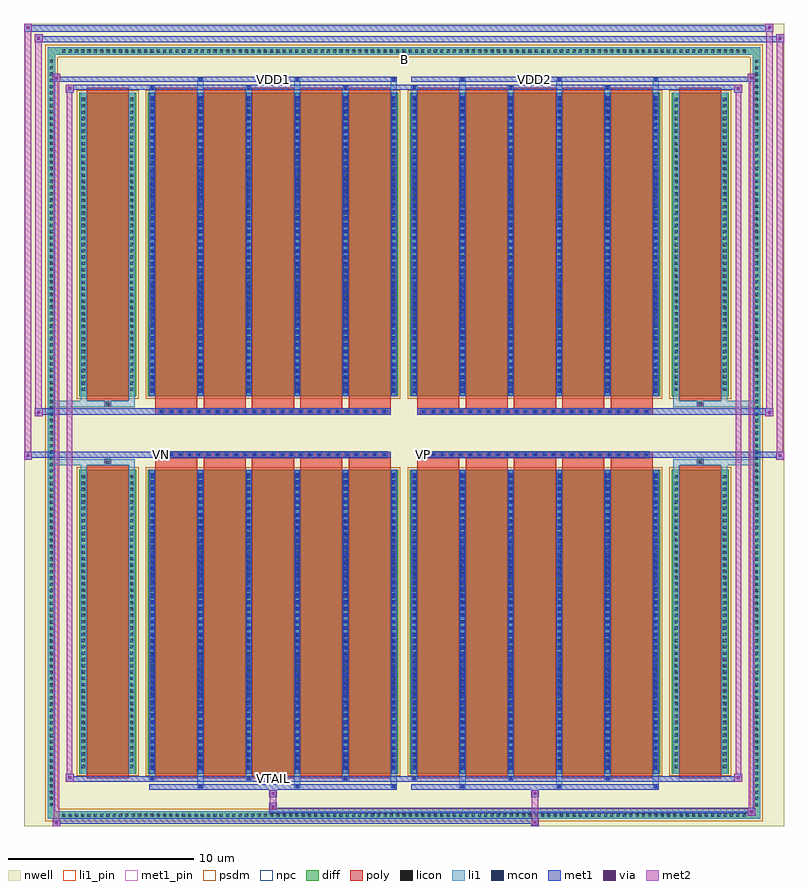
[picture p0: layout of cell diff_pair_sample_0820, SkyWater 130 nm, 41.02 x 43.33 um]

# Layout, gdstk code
import gdstk
lib = gdstk.Library(unit=1e-6, precision=5e-09)
def R(c, l, rs):  # rectangles x0, y0, x1, y1
    for r in rs: c.add(gdstk.rectangle(r[:2], r[2:], *l))
def A(c, l, x, y, w, h, nx, ny, dx, dy):  # array of equal rectangles
    R(c, l, [(x+i*dx, y+j*dy, x+i*dx+w, y+j*dy+h) for i in range(nx) for j in range(ny)])
def P(c, l, *ps):  # polygons
    for p in ps: c.add(gdstk.Polygon(p, *l))
nwell = (64, 20)
diff = (65, 20)
poly = (66, 20)
licon = (66, 44)
li1_pin = (67, 16)
li1 = (67, 20)
mcon = (67, 44)
met1_pin = (68, 16)
met1 = (68, 20)
via = (68, 44)
met2 = (69, 20)
psdm = (94, 20)
npc = (95, 20)

diff_pair_sample_0820 = lib.new_cell('diff_pair_sample_0820')
R(diff_pair_sample_0820, nwell, [(-20.51,-21.23,20.51,22.1), (-17.83,-19.42,-0.01,-0.8), (0.01,-19.42,17.83,-0.8), (-17.83,0.8,-0.01,19.42), (0.01,0.8,17.83,19.42)])
A(diff_pair_sample_0820, diff, -18.565, -20.83, 0.41, 0.41, 109, 2, 0.34, 41.25)
A(diff_pair_sample_0820, diff, -19.24, -20.265, 0.41, 0.41, 1, 119, 0, 0.34)
A(diff_pair_sample_0820, diff, 18.83, -20.265, 0.41, 0.41, 1, 119, 0, 0.34)
R(diff_pair_sample_0820, diff, [(-18.565,-20.83,18.565,-20.42), (-19.24,-20.265,-18.83,20.265), (18.83,-20.265,19.24,20.265), (-17.52,-18.375,-14.46,-1.985), (-13.82,-18.375,-0.32,-1.985), (0.32,-18.375,13.82,-1.985), (14.46,-18.375,17.52,-1.985), (-17.52,1.985,-14.46,18.375), (-13.82,1.985,-0.32,18.375), (0.32,1.985,13.82,18.375), (14.46,1.985,17.52,18.375), (-18.565,20.42,18.565,20.83)])
P(diff_pair_sample_0820, diff, [(19.24,20.83),(-19.24,20.83),(-19.24,-20.42),(-18.83,-20.42),(-18.83,20.42),(18.83,20.42),(18.83,-20.42),(-18.83,-20.42),(-19.24,-20.42),(-19.24,-20.83),(19.24,-20.83)])
A(diff_pair_sample_0820, poly, -13.43, -18.625, 2.28, 16.89, 5, 2, 2.61, 20.36)
A(diff_pair_sample_0820, poly, 0.71, -18.625, 2.28, 16.89, 5, 2, 2.61, 20.36)
A(diff_pair_sample_0820, poly, -13.43, -1.735, 2.28, 0.405, 5, 2, 2.61, 3.065)
A(diff_pair_sample_0820, poly, 0.71, -1.735, 2.28, 0.405, 5, 2, 2.61, 3.065)
A(diff_pair_sample_0820, poly, -13.235, -1.33, 0.33, 0.33, 25, 2, 0.5, 2.33)
A(diff_pair_sample_0820, poly, 0.905, -1.33, 0.33, 0.33, 25, 2, 0.5, 2.33)
R(diff_pair_sample_0820, poly, [(-17.13,-18.625,-14.85,-1.735), (14.85,-18.625,17.13,-1.735), (-16.155,-1.735,-15.825,-1.405), (-16.155,-1.735,-15.825,-1.405), (15.825,-1.735,16.155,-1.405), (15.825,-1.735,16.155,-1.405), (-13.43,-1.33,-0.71,-1), (0.71,-1.33,13.43,-1), (-13.43,1,-0.71,1.33), (0.71,1,13.43,1.33), (-16.155,1.405,-15.825,1.735), (-16.155,1.405,-15.825,1.735), (15.825,1.405,16.155,1.735), (15.825,1.405,16.155,1.735), (-17.13,1.735,-14.85,18.625), (14.85,1.735,17.13,18.625)])
A(diff_pair_sample_0820, licon, -18.445, -20.71, 0.17, 0.17, 109, 2, 0.34, 41.25)
A(diff_pair_sample_0820, licon, -19.12, -20.145, 0.17, 0.17, 1, 119, 0, 0.34)
A(diff_pair_sample_0820, licon, 18.95, -20.145, 0.17, 0.17, 1, 119, 0, 0.34)
A(diff_pair_sample_0820, licon, -17.38, -18.085, 0.17, 0.17, 1, 47, 0, 0.34)
A(diff_pair_sample_0820, licon, -14.77, -18.085, 0.17, 0.17, 1, 47, 0, 0.34)
A(diff_pair_sample_0820, licon, -13.68, -18.085, 0.17, 0.17, 6, 47, 2.61, 0.34)
A(diff_pair_sample_0820, licon, 0.46, -18.085, 0.17, 0.17, 6, 47, 2.61, 0.34)
A(diff_pair_sample_0820, licon, 14.6, -18.085, 0.17, 0.17, 1, 47, 0, 0.34)
A(diff_pair_sample_0820, licon, 17.21, -18.085, 0.17, 0.17, 1, 47, 0, 0.34)
A(diff_pair_sample_0820, licon, -13.155, -1.25, 0.17, 0.17, 25, 2, 0.5, 2.33)
A(diff_pair_sample_0820, licon, 0.985, -1.25, 0.17, 0.17, 25, 2, 0.5, 2.33)
A(diff_pair_sample_0820, licon, -17.38, 2.275, 0.17, 0.17, 1, 47, 0, 0.34)
A(diff_pair_sample_0820, licon, -14.77, 2.275, 0.17, 0.17, 1, 47, 0, 0.34)
A(diff_pair_sample_0820, licon, -13.68, 2.275, 0.17, 0.17, 6, 47, 2.61, 0.34)
A(diff_pair_sample_0820, licon, 0.46, 2.275, 0.17, 0.17, 6, 47, 2.61, 0.34)
A(diff_pair_sample_0820, licon, 14.6, 2.275, 0.17, 0.17, 1, 47, 0, 0.34)
A(diff_pair_sample_0820, licon, 17.21, 2.275, 0.17, 0.17, 1, 47, 0, 0.34)
R(diff_pair_sample_0820, licon, [(-16.075,-1.655,-15.905,-1.485), (15.905,-1.655,16.075,-1.485), (-16.075,1.485,-15.905,1.655), (15.905,1.485,16.075,1.655)])
R(diff_pair_sample_0820, li1_pin, [(-0.25,19.92,0.25,20.42)])
A(diff_pair_sample_0820, li1, -18.525, -20.79, 0.33, 0.33, 109, 2, 0.34, 41.25)
A(diff_pair_sample_0820, li1, -19.2, -20.225, 0.33, 0.33, 1, 119, 0, 0.34)
A(diff_pair_sample_0820, li1, 18.87, -20.225, 0.33, 0.33, 1, 119, 0, 0.34)
A(diff_pair_sample_0820, li1, -11.15, -19.18, 0.33, 0.805, 3, 2, 5.22, 37.555)
A(diff_pair_sample_0820, li1, -11.07, -19.18, 0.17, 0.17, 3, 2, 5.22, 38.19)
A(diff_pair_sample_0820, li1, 2.99, -19.18, 0.33, 0.805, 3, 2, 5.22, 37.555)
A(diff_pair_sample_0820, li1, 3.07, -19.18, 0.17, 0.17, 3, 2, 5.22, 38.19)
A(diff_pair_sample_0820, li1, -13.76, -18.75, 0.33, 0.375, 3, 2, 5.22, 37.125)
A(diff_pair_sample_0820, li1, -13.68, -18.75, 0.17, 0.17, 3, 2, 5.22, 37.33)
A(diff_pair_sample_0820, li1, 0.38, -18.75, 0.33, 0.375, 3, 2, 5.22, 37.125)
A(diff_pair_sample_0820, li1, 0.46, -18.75, 0.17, 0.17, 3, 2, 5.22, 37.33)
A(diff_pair_sample_0820, li1, -13.76, -18.375, 0.33, 16.39, 6, 2, 2.61, 20.36)
A(diff_pair_sample_0820, li1, 0.38, -18.375, 0.33, 16.39, 6, 2, 2.61, 20.36)
A(diff_pair_sample_0820, li1, -13.68, -18.185, 0.17, 0.17, 6, 45, 2.61, 0.36)
A(diff_pair_sample_0820, li1, -13.68, -18.185, 0.17, 16.01, 6, 2, 2.61, 20.36)
A(diff_pair_sample_0820, li1, 0.46, -18.185, 0.17, 0.17, 6, 45, 2.61, 0.36)
A(diff_pair_sample_0820, li1, 0.46, -18.185, 0.17, 16.01, 6, 2, 2.61, 20.36)
A(diff_pair_sample_0820, li1, -17.46, -18.165, 0.33, 0.33, 1, 47, 0, 0.34)
A(diff_pair_sample_0820, li1, -14.85, -18.165, 0.33, 0.33, 1, 47, 0, 0.34)
A(diff_pair_sample_0820, li1, -13.76, -18.165, 0.33, 0.33, 6, 47, 2.61, 0.34)
A(diff_pair_sample_0820, li1, 0.38, -18.165, 0.33, 0.33, 6, 47, 2.61, 0.34)
A(diff_pair_sample_0820, li1, 14.52, -18.165, 0.33, 0.33, 1, 47, 0, 0.34)
A(diff_pair_sample_0820, li1, 17.13, -18.165, 0.33, 0.33, 1, 47, 0, 0.34)
A(diff_pair_sample_0820, li1, -13.235, -1.33, 0.33, 0.33, 25, 2, 0.5, 2.33)
A(diff_pair_sample_0820, li1, 0.905, -1.33, 0.33, 0.33, 25, 2, 0.5, 2.33)
A(diff_pair_sample_0820, li1, -13.68, 2.175, 0.17, 0.17, 6, 45, 2.61, 0.36)
A(diff_pair_sample_0820, li1, 0.46, 2.175, 0.17, 0.17, 6, 45, 2.61, 0.36)
A(diff_pair_sample_0820, li1, -17.46, 2.195, 0.33, 0.33, 1, 47, 0, 0.34)
A(diff_pair_sample_0820, li1, -14.85, 2.195, 0.33, 0.33, 1, 47, 0, 0.34)
A(diff_pair_sample_0820, li1, -13.76, 2.195, 0.33, 0.33, 6, 47, 2.61, 0.34)
A(diff_pair_sample_0820, li1, 0.38, 2.195, 0.33, 0.33, 6, 47, 2.61, 0.34)
A(diff_pair_sample_0820, li1, 14.52, 2.195, 0.33, 0.33, 1, 47, 0, 0.34)
A(diff_pair_sample_0820, li1, 17.13, 2.195, 0.33, 0.33, 1, 47, 0, 0.34)
R(diff_pair_sample_0820, li1, [(-19.24,-20.83,-18.83,-20.42), (-19.24,-20.83,-18.83,-20.42), (-18.83,-20.83,18.83,-20.42), (18.83,-20.83,19.24,-20.42), (18.83,-20.83,19.24,-20.42), (-19.24,-20.42,-18.83,20.42), (18.83,-20.42,19.24,20.42), (-17.46,-18.375,-17.13,-1.985), (-14.85,-18.375,-14.52,-1.985), (14.52,-18.375,14.85,-1.985), (17.13,-18.375,17.46,-1.985), (-17.46,-1.985,-17.13,-1.405), (-14.85,-1.985,-14.52,-1.405), (14.52,-1.985,14.85,-1.405), (17.13,-1.985,17.46,-1.405), (-19.24,-1.735,-16.155,-1.405), (-17.46,-1.735,-16.155,-1.405), (-16.155,-1.735,-15.825,-1.405), (-15.825,-1.735,-14.52,-1.405), (14.52,-1.735,15.825,-1.405), (15.825,-1.735,16.155,-1.405), (15.825,-1.735,19.24,-1.405), (16.155,-1.735,17.46,-1.405), (-19.24,1.405,-16.155,1.735), (-17.46,1.405,-16.155,1.735), (-17.46,1.405,-17.13,1.985), (-16.155,1.405,-15.825,1.735), (-15.825,1.405,-14.52,1.735), (-14.85,1.405,-14.52,1.985), (14.52,1.405,15.825,1.735), (14.52,1.405,14.85,1.985), (15.825,1.405,16.155,1.735), (15.825,1.405,19.24,1.735), (16.155,1.405,17.46,1.735), (17.13,1.405,17.46,1.985), (-17.46,1.985,-17.13,18.375), (-14.85,1.985,-14.52,18.375), (14.52,1.985,14.85,18.375), (17.13,1.985,17.46,18.375), (-19.24,20.42,-18.83,20.83), (-19.24,20.42,-18.83,20.83), (-18.83,20.42,18.83,20.83), (18.83,20.42,19.24,20.83), (18.83,20.42,19.24,20.83)])
A(diff_pair_sample_0820, mcon, -11.07, -19.18, 0.17, 0.17, 3, 2, 5.22, 38.19)
A(diff_pair_sample_0820, mcon, 3.07, -19.18, 0.17, 0.17, 3, 2, 5.22, 38.19)
A(diff_pair_sample_0820, mcon, -13.68, -18.75, 0.17, 0.17, 3, 2, 5.22, 37.33)
A(diff_pair_sample_0820, mcon, 0.46, -18.75, 0.17, 0.17, 3, 2, 5.22, 37.33)
A(diff_pair_sample_0820, mcon, -13.68, -18.185, 0.17, 0.17, 6, 45, 2.61, 0.36)
A(diff_pair_sample_0820, mcon, 0.46, -18.185, 0.17, 0.17, 6, 45, 2.61, 0.36)
A(diff_pair_sample_0820, mcon, -13.155, -1.25, 0.17, 0.17, 25, 2, 0.5, 2.33)
A(diff_pair_sample_0820, mcon, 0.985, -1.25, 0.17, 0.17, 25, 2, 0.5, 2.33)
A(diff_pair_sample_0820, mcon, -13.68, 2.175, 0.17, 0.17, 6, 45, 2.61, 0.36)
A(diff_pair_sample_0820, mcon, 0.46, 2.175, 0.17, 0.17, 6, 45, 2.61, 0.36)
R(diff_pair_sample_0820, met1_pin, [(-7.205,-18.79,-6.935,-18.52), (-13.205,-1.29,-12.935,-1.02), (0.935,-1.29,1.205,-1.02), (-7.205,18.97,-6.935,19.24), (6.935,18.97,7.205,19.24)])
A(diff_pair_sample_0820, met1, -11.13, -19.24, 0.29, 0.29, 3, 2, 5.22, 38.19)
A(diff_pair_sample_0820, met1, 3.01, -19.24, 0.29, 0.29, 3, 2, 5.22, 38.19)
A(diff_pair_sample_0820, met1, -13.74, -18.81, 0.29, 0.29, 3, 2, 5.22, 37.33)
A(diff_pair_sample_0820, met1, 0.4, -18.81, 0.29, 0.29, 3, 2, 5.22, 37.33)
A(diff_pair_sample_0820, met1, -13.74, -18.375, 0.29, 16.39, 6, 2, 2.61, 20.36)
A(diff_pair_sample_0820, met1, 0.4, -18.375, 0.29, 16.39, 6, 2, 2.61, 20.36)
A(diff_pair_sample_0820, met1, -13.74, -18.245, 0.29, 0.29, 6, 45, 2.61, 0.36)
A(diff_pair_sample_0820, met1, 0.4, -18.245, 0.29, 0.29, 6, 45, 2.61, 0.36)
A(diff_pair_sample_0820, met1, -13.215, -1.31, 0.29, 0.29, 25, 2, 0.5, 2.33)
A(diff_pair_sample_0820, met1, 0.925, -1.31, 0.29, 0.29, 25, 2, 0.5, 2.33)
A(diff_pair_sample_0820, met1, -13.74, 2.115, 0.29, 0.29, 6, 45, 2.61, 0.36)
A(diff_pair_sample_0820, met1, 0.4, 2.115, 0.29, 0.29, 6, 45, 2.61, 0.36)
R(diff_pair_sample_0820, met1, [(-18.97,-21.23,-18.54,-20.8), (6.855,-21.23,7.285,-20.8), (-18.97,-21.09,7.285,-20.8), (18.54,-20.66,18.97,-20.23), (-7.285,-20.52,18.97,-20.23), (-7.285,-20.38,-6.855,-19.95), (-7.285,-19.67,-6.855,-19.24), (6.855,-19.67,7.285,-19.24), (-13.74,-19.24,-0.4,-18.95), (0.4,-19.24,13.74,-18.95), (-18.26,-18.81,-17.83,-18.38), (-18.26,-18.81,-13.74,-18.52), (-13.74,-18.81,-0.4,-18.52), (-0.4,-18.81,0.4,-18.52), (0.4,-18.81,13.74,-18.52), (13.74,-18.81,18.26,-18.52), (17.83,-18.81,18.26,-18.38), (-20.51,-1.43,-20.08,-1), (20.08,-1.43,20.51,-1), (-20.51,-1.33,-0.71,-1), (-13.43,-1.33,-0.71,-1), (0.71,-1.33,13.43,-1), (0.71,-1.33,20.51,-1), (-19.94,0.9,-19.51,1.33), (19.51,0.9,19.94,1.33), (-19.94,1,-13.43,1.33), (-13.43,1,-0.71,1.33), (0.71,1,13.43,1.33), (13.43,1,19.94,1.33), (-18.26,18.38,-17.83,18.81), (17.83,18.38,18.26,18.81), (-18.26,18.52,-13.74,18.81), (-13.74,18.52,-0.4,18.81), (-0.4,18.52,0.4,18.81), (0.4,18.52,13.74,18.81), (13.74,18.52,18.26,18.81), (-18.97,18.95,-18.54,19.38), (-18.97,18.95,-13.74,19.24), (-13.74,18.95,-0.4,19.24), (0.4,18.95,13.74,19.24), (13.74,18.95,18.97,19.24), (18.54,18.95,18.97,19.38), (-19.94,21.1,-19.51,21.53), (-19.94,21.1,-17.83,21.43), (-17.83,21.1,17.83,21.43), (17.83,21.1,20.51,21.43), (20.08,21.1,20.51,21.53), (-20.51,21.67,-20.08,22.1), (-20.51,21.67,-17.83,22), (-17.83,21.67,17.83,22), (17.83,21.67,19.94,22), (19.51,21.67,19.94,22.1)])
R(diff_pair_sample_0820, via, [(-18.83,-21.09,-18.68,-20.94), (6.995,-21.09,7.145,-20.94), (18.68,-20.52,18.83,-20.37), (-7.145,-20.24,-6.995,-20.09), (-7.145,-19.53,-6.995,-19.38), (6.995,-19.53,7.145,-19.38), (-18.12,-18.67,-17.97,-18.52), (17.97,-18.67,18.12,-18.52), (-20.37,-1.29,-20.22,-1.14), (20.22,-1.29,20.37,-1.14), (-19.8,1.04,-19.65,1.19), (19.65,1.04,19.8,1.19), (-18.12,18.52,-17.97,18.67), (17.97,18.52,18.12,18.67), (-18.83,19.09,-18.68,19.24), (18.68,19.09,18.83,19.24), (-19.8,21.24,-19.65,21.39), (20.22,21.24,20.37,21.39), (-20.37,21.81,-20.22,21.96), (19.65,21.81,19.8,21.96)])
R(diff_pair_sample_0820, met2, [(-18.97,-21.23,-18.54,-20.8), (-18.9,-21.23,-18.61,19.38), (-18.61,-21.23,-18.54,-20.8), (-18.92,-21.18,-18.59,-20.85), (6.905,-21.18,7.235,-20.85), (6.905,-20.85,7.235,-19.62), (18.54,-20.66,18.97,-20.23), (18.61,-20.66,18.9,19.38), (18.9,-20.66,18.97,-20.23), (18.59,-20.61,18.92,-20.28), (-7.235,-20.33,-6.905,-20), (-7.235,-20,-6.905,-19.62), (-7.235,-19.62,-6.905,-19.29), (6.905,-19.62,7.235,-19.29), (-18.26,-18.81,-17.83,-18.38), (-18.19,-18.81,-17.9,18.81), (-17.9,-18.81,-17.83,-18.38), (17.83,-18.81,18.26,-18.38), (17.9,-18.81,18.19,18.81), (18.19,-18.81,18.26,-18.38), (-18.21,-18.76,-17.88,-18.43), (17.88,-18.76,18.21,-18.43), (-20.51,-1.43,-20.08,-1), (-20.46,-1.43,-20.13,22.1), (-20.13,-1.43,-20.08,-1), (20.08,-1.43,20.51,-1), (20.13,-1.43,20.46,21.53), (20.46,-1.43,20.51,-1), (-20.46,-1.38,-20.13,-1.05), (20.13,-1.38,20.46,-1.05), (-19.94,0.9,-19.51,1.33), (-19.89,0.9,-19.56,21.53), (-19.56,0.9,-19.51,1.33), (19.51,0.9,19.94,1.33), (19.56,0.9,19.89,22.1), (19.89,0.9,19.94,1.33), (-19.89,0.95,-19.56,1.28), (19.56,0.95,19.89,1.28), (-18.26,18.38,-17.83,18.81), (-17.9,18.38,-17.83,18.81), (17.83,18.38,18.26,18.81), (18.19,18.38,18.26,18.81), (-18.21,18.43,-17.88,18.76), (17.88,18.43,18.21,18.76), (-18.97,18.95,-18.54,19.38), (-18.61,18.95,-18.54,19.38), (18.54,18.95,18.97,19.38), (18.9,18.95,18.97,19.38), (-18.92,19,-18.59,19.33), (18.59,19,18.92,19.33), (-19.94,21.1,-19.51,21.53), (-19.56,21.1,-19.51,21.53), (20.08,21.1,20.51,21.53), (20.46,21.1,20.51,21.53), (-19.89,21.15,-19.56,21.48), (20.13,21.15,20.46,21.48), (-20.51,21.67,-20.08,22.1), (-20.13,21.67,-20.08,22.1), (19.51,21.67,19.94,22.1), (19.89,21.67,19.94,22.1), (-20.46,21.72,-20.13,22.05), (19.56,21.72,19.89,22.05)])
R(diff_pair_sample_0820, psdm, [(-17.65,-18.505,-14.33,-1.855), (-13.95,-18.505,-0.19,-1.855), (0.19,-18.505,13.95,-1.855), (14.33,-18.505,17.65,-1.855), (-17.65,1.855,-14.33,18.505), (-13.95,1.855,-0.19,18.505), (0.19,1.855,13.95,18.505), (14.33,1.855,17.65,18.505)])
P(diff_pair_sample_0820, psdm, [(19.37,20.96),(-19.37,20.96),(-19.37,-20.29),(-18.7,-20.29),(-18.7,20.29),(18.7,20.29),(18.7,-20.29),(-18.7,-20.29),(-19.37,-20.29),(-19.37,-20.96),(19.37,-20.96)])
A(diff_pair_sample_0820, npc, -13.255, -1.35, 0.37, 0.37, 25, 2, 0.5, 2.33)
A(diff_pair_sample_0820, npc, 0.885, -1.35, 0.37, 0.37, 25, 2, 0.5, 2.33)
R(diff_pair_sample_0820, npc, [(-16.175,-1.755,-15.805,-1.385), (15.805,-1.755,16.175,-1.385), (-13.255,-1.35,-12.385,-0.98), (-13.255,-1.35,-12.385,-0.98), (-12.755,-1.35,-11.885,-0.98), (-12.755,-1.35,-11.885,-0.98), (-12.255,-1.35,-11.385,-0.98), (-12.255,-1.35,-11.385,-0.98), (-11.755,-1.35,-10.885,-0.98), (-11.755,-1.35,-10.885,-0.98), (-11.255,-1.35,-10.385,-0.98), (-11.255,-1.35,-10.385,-0.98), (-10.755,-1.35,-9.885,-0.98), (-10.755,-1.35,-9.885,-0.98), (-10.255,-1.35,-9.385,-0.98), (-10.255,-1.35,-9.385,-0.98), (-9.755,-1.35,-8.885,-0.98), (-9.755,-1.35,-8.885,-0.98), (-9.255,-1.35,-8.385,-0.98), (-9.255,-1.35,-8.385,-0.98), (-8.755,-1.35,-7.885,-0.98), (-8.755,-1.35,-7.885,-0.98), (-8.255,-1.35,-7.385,-0.98), (-8.255,-1.35,-7.385,-0.98), (-7.755,-1.35,-6.885,-0.98), (-7.755,-1.35,-6.885,-0.98), (-7.255,-1.35,-6.385,-0.98), (-7.255,-1.35,-6.385,-0.98), (-6.755,-1.35,-5.885,-0.98), (-6.755,-1.35,-5.885,-0.98), (-6.255,-1.35,-5.385,-0.98), (-6.255,-1.35,-5.385,-0.98), (-5.755,-1.35,-4.885,-0.98), (-5.755,-1.35,-4.885,-0.98), (-5.255,-1.35,-4.385,-0.98), (-5.255,-1.35,-4.385,-0.98), (-4.755,-1.35,-3.885,-0.98), (-4.755,-1.35,-3.885,-0.98), (-4.255,-1.35,-3.385,-0.98), (-4.255,-1.35,-3.385,-0.98), (-3.755,-1.35,-2.885,-0.98), (-3.755,-1.35,-2.885,-0.98), (-3.255,-1.35,-2.385,-0.98), (-3.255,-1.35,-2.385,-0.98), (-2.755,-1.35,-1.885,-0.98), (-2.755,-1.35,-1.885,-0.98), (-2.255,-1.35,-1.385,-0.98), (-2.255,-1.35,-1.385,-0.98), (-1.755,-1.35,-0.885,-0.98), (-1.755,-1.35,-0.885,-0.98), (0.885,-1.35,1.755,-0.98), (0.885,-1.35,1.755,-0.98), (1.385,-1.35,2.255,-0.98), (1.385,-1.35,2.255,-0.98), (1.885,-1.35,2.755,-0.98), (1.885,-1.35,2.755,-0.98), (2.385,-1.35,3.255,-0.98), (2.385,-1.35,3.255,-0.98), (2.885,-1.35,3.755,-0.98), (2.885,-1.35,3.755,-0.98), (3.385,-1.35,4.255,-0.98), (3.385,-1.35,4.255,-0.98), (3.885,-1.35,4.755,-0.98), (3.885,-1.35,4.755,-0.98), (4.385,-1.35,5.255,-0.98), (4.385,-1.35,5.255,-0.98), (4.885,-1.35,5.755,-0.98), (4.885,-1.35,5.755,-0.98), (5.385,-1.35,6.255,-0.98), (5.385,-1.35,6.255,-0.98), (5.885,-1.35,6.755,-0.98), (5.885,-1.35,6.755,-0.98), (6.385,-1.35,7.255,-0.98), (6.385,-1.35,7.255,-0.98), (6.885,-1.35,7.755,-0.98), (6.885,-1.35,7.755,-0.98), (7.385,-1.35,8.255,-0.98), (7.385,-1.35,8.255,-0.98), (7.885,-1.35,8.755,-0.98), (7.885,-1.35,8.755,-0.98), (8.385,-1.35,9.255,-0.98), (8.385,-1.35,9.255,-0.98), (8.885,-1.35,9.755,-0.98), (8.885,-1.35,9.755,-0.98), (9.385,-1.35,10.255,-0.98), (9.385,-1.35,10.255,-0.98), (9.885,-1.35,10.755,-0.98), (9.885,-1.35,10.755,-0.98), (10.385,-1.35,11.255,-0.98), (10.385,-1.35,11.255,-0.98), (10.885,-1.35,11.755,-0.98), (10.885,-1.35,11.755,-0.98), (11.385,-1.35,12.255,-0.98), (11.385,-1.35,12.255,-0.98), (11.885,-1.35,12.755,-0.98), (11.885,-1.35,12.755,-0.98), (12.385,-1.35,13.255,-0.98), (12.385,-1.35,13.255,-0.98), (-13.255,0.98,-12.385,1.35), (-13.255,0.98,-12.385,1.35), (-12.755,0.98,-11.885,1.35), (-12.755,0.98,-11.885,1.35), (-12.255,0.98,-11.385,1.35), (-12.255,0.98,-11.385,1.35), (-11.755,0.98,-10.885,1.35), (-11.755,0.98,-10.885,1.35), (-11.255,0.98,-10.385,1.35), (-11.255,0.98,-10.385,1.35), (-10.755,0.98,-9.885,1.35), (-10.755,0.98,-9.885,1.35), (-10.255,0.98,-9.385,1.35), (-10.255,0.98,-9.385,1.35), (-9.755,0.98,-8.885,1.35), (-9.755,0.98,-8.885,1.35), (-9.255,0.98,-8.385,1.35), (-9.255,0.98,-8.385,1.35), (-8.755,0.98,-7.885,1.35), (-8.755,0.98,-7.885,1.35), (-8.255,0.98,-7.385,1.35), (-8.255,0.98,-7.385,1.35), (-7.755,0.98,-6.885,1.35), (-7.755,0.98,-6.885,1.35), (-7.255,0.98,-6.385,1.35), (-7.255,0.98,-6.385,1.35), (-6.755,0.98,-5.885,1.35), (-6.755,0.98,-5.885,1.35), (-6.255,0.98,-5.385,1.35), (-6.255,0.98,-5.385,1.35), (-5.755,0.98,-4.885,1.35), (-5.755,0.98,-4.885,1.35), (-5.255,0.98,-4.385,1.35), (-5.255,0.98,-4.385,1.35), (-4.755,0.98,-3.885,1.35), (-4.755,0.98,-3.885,1.35), (-4.255,0.98,-3.385,1.35), (-4.255,0.98,-3.385,1.35), (-3.755,0.98,-2.885,1.35), (-3.755,0.98,-2.885,1.35), (-3.255,0.98,-2.385,1.35), (-3.255,0.98,-2.385,1.35), (-2.755,0.98,-1.885,1.35), (-2.755,0.98,-1.885,1.35), (-2.255,0.98,-1.385,1.35), (-2.255,0.98,-1.385,1.35), (-1.755,0.98,-0.885,1.35), (-1.755,0.98,-0.885,1.35), (0.885,0.98,1.755,1.35), (0.885,0.98,1.755,1.35), (1.385,0.98,2.255,1.35), (1.385,0.98,2.255,1.35), (1.885,0.98,2.755,1.35), (1.885,0.98,2.755,1.35), (2.385,0.98,3.255,1.35), (2.385,0.98,3.255,1.35), (2.885,0.98,3.755,1.35), (2.885,0.98,3.755,1.35), (3.385,0.98,4.255,1.35), (3.385,0.98,4.255,1.35), (3.885,0.98,4.755,1.35), (3.885,0.98,4.755,1.35), (4.385,0.98,5.255,1.35), (4.385,0.98,5.255,1.35), (4.885,0.98,5.755,1.35), (4.885,0.98,5.755,1.35), (5.385,0.98,6.255,1.35), (5.385,0.98,6.255,1.35), (5.885,0.98,6.755,1.35), (5.885,0.98,6.755,1.35), (6.385,0.98,7.255,1.35), (6.385,0.98,7.255,1.35), (6.885,0.98,7.755,1.35), (6.885,0.98,7.755,1.35), (7.385,0.98,8.255,1.35), (7.385,0.98,8.255,1.35), (7.885,0.98,8.755,1.35), (7.885,0.98,8.755,1.35), (8.385,0.98,9.255,1.35), (8.385,0.98,9.255,1.35), (8.885,0.98,9.755,1.35), (8.885,0.98,9.755,1.35), (9.385,0.98,10.255,1.35), (9.385,0.98,10.255,1.35), (9.885,0.98,10.755,1.35), (9.885,0.98,10.755,1.35), (10.385,0.98,11.255,1.35), (10.385,0.98,11.255,1.35), (10.885,0.98,11.755,1.35), (10.885,0.98,11.755,1.35), (11.385,0.98,12.255,1.35), (11.385,0.98,12.255,1.35), (11.885,0.98,12.755,1.35), (11.885,0.98,12.755,1.35), (12.385,0.98,13.255,1.35), (12.385,0.98,13.255,1.35), (-16.175,1.385,-15.805,1.755), (15.805,1.385,16.175,1.755)])
diff_pair_sample_0820.add(gdstk.Label('VTAIL', (-7.07,-18.655), layer=68, texttype=5))
diff_pair_sample_0820.add(gdstk.Label('VN', (-13.07,-1.155), layer=68, texttype=5))
diff_pair_sample_0820.add(gdstk.Label('VP', (1.07,-1.155), layer=68, texttype=5))
diff_pair_sample_0820.add(gdstk.Label('B', (0,20.17), layer=67, texttype=5))
diff_pair_sample_0820.add(gdstk.Label('VDD2', (7.07,19.105), layer=68, texttype=5))
diff_pair_sample_0820.add(gdstk.Label('VDD1', (-7.07,19.105), layer=68, texttype=5))

lib.write_gds('diff_pair_sample_0820.gds')
